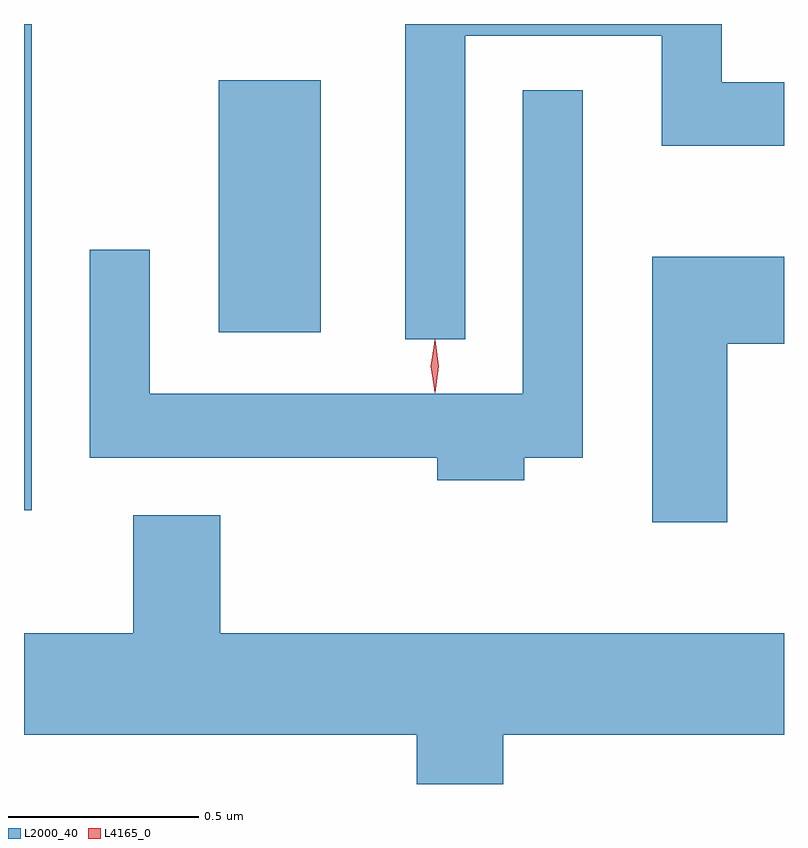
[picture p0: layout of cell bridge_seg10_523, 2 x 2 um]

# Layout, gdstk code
import gdstk
lib = gdstk.Library(unit=1e-6, precision=1e-09)
def R(c, l, rs):  # rectangles x0, y0, x1, y1
    for r in rs: c.add(gdstk.rectangle(r[:2], r[2:], *l))
def P(c, l, *ps):  # polygons
    for p in ps: c.add(gdstk.Polygon(p, *l))
L2000_40 = (2000, 40)
L4165_0 = (4165, 0)

bridge_seg10_523 = lib.new_cell('bridge_seg10_523')
R(bridge_seg10_523, L2000_40, [(867.433,2174.448,867.454,2175.727), (867.946,2174.916,868.214,2175.579)])
P(bridge_seg10_523, L2000_40, [(868.594,2175.696),(869.111,2175.696),(869.111,2175.406),(869.433,2175.406),(869.433,2175.574),(869.269,2175.574),(869.269,2175.727),(868.436,2175.727),(868.436,2174.898),(868.594,2174.898)],
  [(868.749,2174.586),(868.904,2174.586),(868.904,2175.553),(868.746,2175.553),(868.746,2174.754),(867.764,2174.754),(867.764,2175.133),(867.606,2175.133),(867.606,2174.586),(868.521,2174.586),(868.521,2174.526),(868.749,2174.526)],
  [(869.284,2174.886),(869.433,2174.886),(869.433,2175.114),(869.086,2175.114),(869.086,2174.416),(869.284,2174.416)],
  [(868.694,2173.856),(869.433,2173.856),(869.433,2174.124),(867.949,2174.124),(867.949,2174.434),(867.721,2174.434),(867.721,2174.124),(867.433,2174.124),(867.433,2173.856),(868.466,2173.856),(868.466,2173.727),(868.694,2173.727)])
P(bridge_seg10_523, L4165_0, [(868.514,2174.757),(868.505,2174.826),(868.514,2174.896),(868.515,2174.896),(868.515,2174.896),(868.525,2174.826),(868.515,2174.757),(868.515,2174.757)],
  [(868.514,2174.759),(868.514,2174.76),(868.504,2174.826),(868.514,2174.892),(868.514,2174.893),(868.515,2174.892),(868.524,2174.826),(868.515,2174.76)])

lib.write_gds('bridge_seg10_523.gds')
